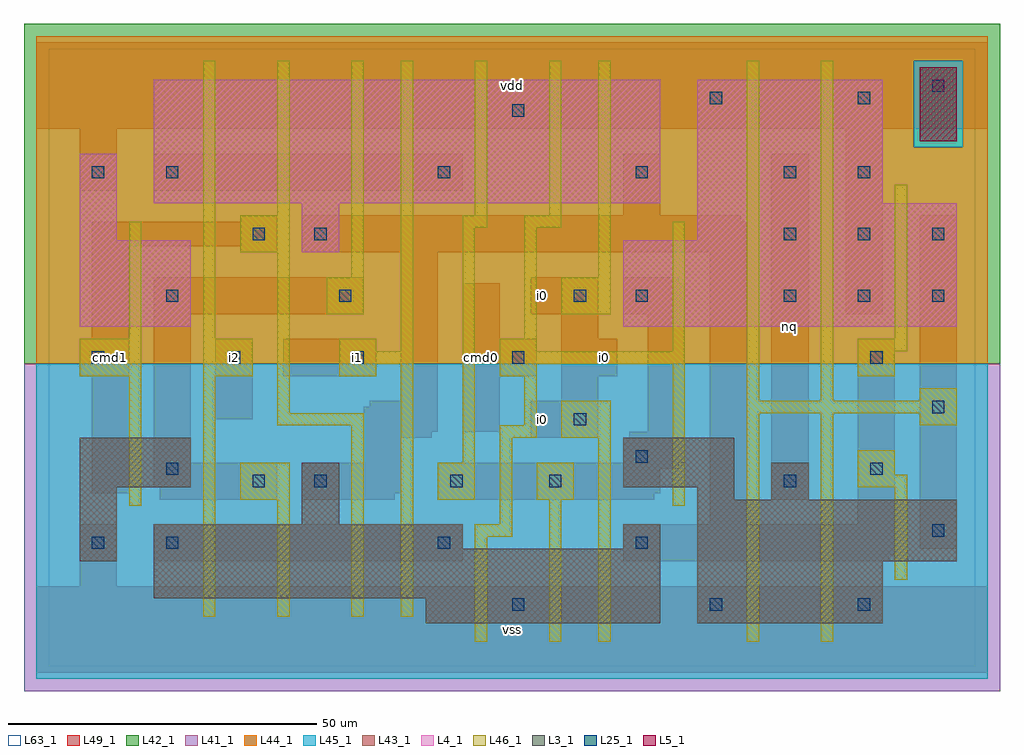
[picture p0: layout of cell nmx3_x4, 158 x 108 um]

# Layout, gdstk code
import gdstk
lib = gdstk.Library(unit=1e-6, precision=1e-09)
def R(c, l, rs):  # rectangles x0, y0, x1, y1
    for r in rs: c.add(gdstk.rectangle(r[:2], r[2:], *l))
def A(c, l, x, y, w, h, nx, ny, dx, dy):  # array of equal rectangles
    R(c, l, [(x+i*dx, y+j*dy, x+i*dx+w, y+j*dy+h) for i in range(nx) for j in range(ny)])
L3_1 = (3, 1)
L4_1 = (4, 1)
L5_1 = (5, 1)
L25_1 = (25, 1)
L41_1 = (41, 1)
L42_1 = (42, 1)
L43_1 = (43, 1)
L44_1 = (44, 1)
L45_1 = (45, 1)
L46_1 = (46, 1)
L49_1 = (49, 1)
L63_1 = (63, 1)

nmx3_x4 = lib.new_cell('nmx3_x4')
R(nmx3_x4, L3_1, [(61,7,99,11), (105,7,135,17), (17,11,99,19), (5,17,11,29), (105,17,147,27), (17,19,67,23), (93,19,99,23), (41,23,47,33), (105,27,111,29), (117,27,123,33), (5,29,23,37), (93,29,111,37)])
R(nmx3_x4, L4_1, [(5,55,23,69), (93,55,147,69), (41,67,47,75), (5,69,11,83), (105,69,147,75), (17,75,99,95), (105,75,135,95)])
R(nmx3_x4, L5_1, [(141,85,147,97)])
A(nmx3_x4, L25_1, 75, 9, 2, 2, 1, 3, 0, 40)
A(nmx3_x4, L25_1, 7, 19, 2, 2, 1, 3, 0, 30)
A(nmx3_x4, L25_1, 119, 59, 2, 2, 3, 2, 12, 10)
R(nmx3_x4, L25_1, [(107,9,109,11), (131,9,133,11), (19,19,21,21), (63,19,65,21), (95,19,97,21), (143,21,145,23), (33,29,35,31), (43,29,45,31), (65,29,67,31), (81,29,83,31), (119,29,121,31), (19,31,21,33), (133,31,135,33), (95,33,97,35), (85,39,87,41), (143,41,145,43), (29,49,31,51), (49,49,51,51), (133,49,135,51), (19,59,21,61), (47,59,49,61), (85,59,87,61), (95,59,97,61), (33,69,35,71), (43,69,45,71), (19,79,21,81), (63,79,65,81), (95,79,97,81), (119,79,121,81), (131,79,133,81), (107,91,109,93), (131,91,133,93), (143,93,145,95)])
R(nmx3_x4, L41_1, [(-4,-4,154,49)])
R(nmx3_x4, L42_1, [(-4,49,154,104)])
R(nmx3_x4, L43_1, [(61,7,99,11), (105,7,135,17), (17,11,99,19), (5,17,11,29), (105,17,147,27), (17,19,67,23), (93,19,99,23), (41,23,47,33), (105,27,111,29), (117,27,123,33), (5,29,23,37), (93,29,111,37), (5,55,23,69), (93,55,147,69), (41,67,47,75), (5,69,11,83), (105,69,147,75), (17,75,99,95), (105,75,135,95), (141,85,147,97)])
R(nmx3_x4, L44_1, [(-2,49,152,84), (-2,84,140,98), (148,84,152,98), (-2,98,152,102)])
R(nmx3_x4, L45_1, [(-2,-2,152,49), (140,84,148,98)])
R(nmx3_x4, L46_1, [(69,4,71,21), (81,4,83,27), (89,4,91,37), (113,4,115,41), (125,4,127,41), (25,8,27,47), (37,8,39,27), (49,8,51,39), (57,8,59,49), (137,14,139,29), (69,21,75,23), (73,23,75,37), (13,26,15,47), (101,26,103,49), (31,27,39,33), (63,27,69,33), (79,27,85,33), (131,29,139,31), (131,31,137,35), (67,33,69,71), (73,37,79,39), (83,37,91,43), (37,39,51,41), (77,39,79,47), (141,39,147,41), (37,41,39,67), (113,41,147,43), (113,43,115,98), (125,43,127,98), (141,43,147,45), (5,47,15,53), (25,47,33,53), (47,47,53,49), (73,47,79,49), (131,47,137,51), (47,49,59,51), (73,49,103,51), (47,51,53,53), (57,51,59,98), (73,51,79,53), (101,51,103,72), (131,51,139,53), (13,53,15,72), (25,53,27,98), (77,53,79,71), (137,53,139,78), (45,57,51,63), (83,57,91,63), (49,63,51,98), (89,63,91,98), (31,67,39,73), (67,71,71,73), (77,71,83,73), (37,73,39,98), (69,73,71,98), (81,73,83,98)])
R(nmx3_x4, L49_1, [(-2,-1,152,13), (5,13,11,23), (17,17,67,23), (93,17,136,18), (93,18,137,23), (141,19,147,73), (107,23,113,67), (131,23,137,53), (18,27,37,29), (41,27,56,28), (63,27,98,28), (117,27,123,83), (7,28,13,47), (41,28,57,33), (63,28,99,32), (17,29,37,33), (63,32,102,33), (17,33,23,57), (51,33,57,37), (93,33,103,37), (51,37,62,38), (78,37,89,43), (94,37,103,38), (51,38,63,42), (67,38,73,47), (97,38,103,57), (27,40,33,53), (52,42,63,43), (57,43,63,67), (83,43,89,47), (5,47,13,53), (38,47,53,53), (67,47,79,53), (83,47,92,53), (7,53,13,68), (67,53,73,62), (83,53,89,57), (17,57,51,63), (78,57,89,63), (93,57,103,62), (129,57,135,87), (93,62,102,63), (31,67,37,68), (41,67,113,72), (7,68,37,72), (31,72,37,73), (41,72,112,73), (93,73,99,83), (5,77,11,87), (17,77,67,83), (-2,87,152,101)])
R(nmx3_x4, L63_1, [(0,0,150,100)])
nmx3_x4.add(gdstk.Label('cmd1', (10,50), layer=49, texttype=1))
nmx3_x4.add(gdstk.Label('cmd1', (10,50), layer=49, texttype=1))
nmx3_x4.add(gdstk.Label('i2', (30,50), layer=49, texttype=1))
nmx3_x4.add(gdstk.Label('i2', (30,50), layer=49, texttype=1))
nmx3_x4.add(gdstk.Label('i1', (50,50), layer=49, texttype=1))
nmx3_x4.add(gdstk.Label('i1', (50,50), layer=49, texttype=1))
nmx3_x4.add(gdstk.Label('vss', (75,6), layer=49, texttype=1))
nmx3_x4.add(gdstk.Label('vss', (75,6), layer=49, texttype=1))
nmx3_x4.add(gdstk.Label('i0', (80,40), layer=49, texttype=1))
nmx3_x4.add(gdstk.Label('i0', (80,40), layer=49, texttype=1))
nmx3_x4.add(gdstk.Label('cmd0', (70,50), layer=49, texttype=1))
nmx3_x4.add(gdstk.Label('cmd0', (70,50), layer=49, texttype=1))
nmx3_x4.add(gdstk.Label('i0', (80,60), layer=49, texttype=1))
nmx3_x4.add(gdstk.Label('i0', (80,60), layer=49, texttype=1))
nmx3_x4.add(gdstk.Label('vdd', (75,94), layer=49, texttype=1))
nmx3_x4.add(gdstk.Label('vdd', (75,94), layer=49, texttype=1))
nmx3_x4.add(gdstk.Label('i0', (90,50), layer=49, texttype=1))
nmx3_x4.add(gdstk.Label('i0', (90,50), layer=49, texttype=1))
nmx3_x4.add(gdstk.Label('nq', (120,55), layer=49, texttype=1))
nmx3_x4.add(gdstk.Label('nq', (120,55), layer=49, texttype=1))

lib.write_gds('nmx3_x4.gds')
